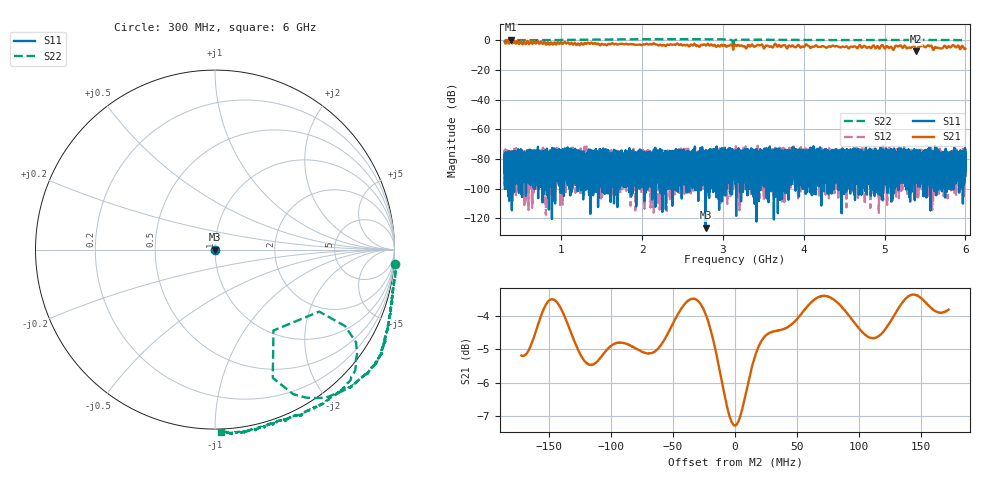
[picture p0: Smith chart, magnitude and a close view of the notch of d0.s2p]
!Agilent Technologies,N5230C,SG49000117,A.08.50.07
!Agilent N5230C: A.08.50.07
!Date: Monday, March 18, 2024 17:53:25
!Correction: S11(Off)
!S21(Off)
!S12(Off)
!S22(Full 1 Port(2))
!S2P File: Measurements: S11, S21, S12, S22:
# Hz S  RI  R 50
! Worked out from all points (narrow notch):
!   20001 points, 300 MHz to 6 GHz, reference 50 ohm
!   highest |S21| = 0.37 dB at 374.1 MHz (marker M1); lowest = -7.3 dB at 5.393 GHz (marker M2)
!   notch at M2: 3.9 dB deep, 28.7 MHz wide at half that depth
!   lowest |S11| = -126.4 dB at 2.787 GHz (marker M3), VSWR 1.00, Z = 50 - j2.54e-05 ohm
!   |S11| at or under -10 dB: start of sweep to end of sweep
!   |S22| runs from -5.3 to 0.8 dB; largest |S21 - S12| = 1
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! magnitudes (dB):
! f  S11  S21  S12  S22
! 300 MHz  -89.4  -0.9  -77.7  0.1
! 374.1 MHz  -90.5  0.4  -80.9  0.1
! 1.25 GHz  -77.3  -1.8  -74.9  0.3
! 2.2 GHz  -79.8  -3.5  -82.4  0.8
! 2.787 GHz  -126.4  -3.5  -85.4  0.7
! 3.15 GHz  -86.9  -2.9  -87.2  0.2
! 3.199 GHz  -88.9  -3.4  -78.2  0.5
! 3.273 GHz  -80.9  -4.4  -78.5  0.5
! 3.461 GHz  -73.5  -3.5  -82.3  0.4
! 3.522 GHz  -74.3  -4.3  -91.4  0.4
! 3.664 GHz  -79.4  -3.6  -79.0  0.3
! 3.98 GHz  -85.2  -4.2  -77.2  0.2
! 4.039 GHz  -86.4  -3.0  -79.2  0.2
! 4.1 GHz  -84.4  -4.5  -77.4  0.2
! 5.05 GHz  -82.4  -5.1  -84.9  0.2
! 5.35 GHz  -92.4  -3.8  -77.2  0.2
! 5.393 GHz  -87.9  -7.3  -106.5  0.2
! 5.452 GHz  -88.9  -3.7  -79.0  0.2
! 5.553 GHz  -81.0  -3.8  -83.3  0.2
! 5.618 GHz  -82.6  -5.0  -90.9  0.2
! 5.851 GHz  -80.4  -3.3  -84.6  0.2
! 6 GHz  -88.1  -5.6  -78.5  0.2
